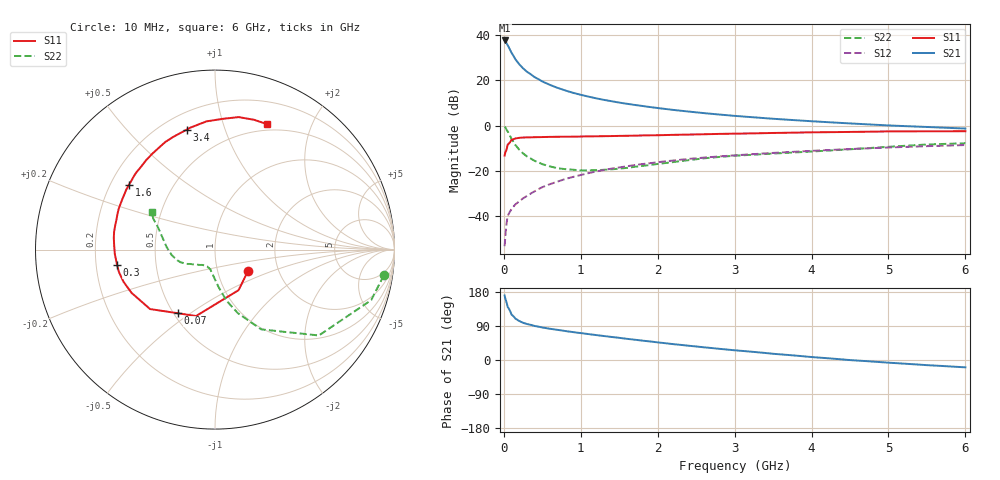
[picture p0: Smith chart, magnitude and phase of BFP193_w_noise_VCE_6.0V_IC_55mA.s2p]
! Infineon Technologies  Discrete & RF Semiconductors
! BFP193
! VCE =  6.0 V,  IC =  55 mA
! Common Emitter S-Parameters:  Jan 2017
# GHz  S  MA  R  50
!  f  S11  S21  S12  S22
! GHz  MAG  ANG  MAG  ANG  MAG  ANG  MAG  ANG
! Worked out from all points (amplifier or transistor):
!   77 points, 10 MHz to 6 GHz, reference 50 ohm
!   highest |S21| = 37.6 dB at 10 MHz (marker M1)
!   |S21| within 3 dB of that: start of sweep to 64.04 MHz
!   unconditionally stable (mu >= 1): 582.8 MHz to 2.367 GHz
!   at 130 MHz: K = 0.62, MSG = 33.0 dB, |S12| = -35.5 dB
!   at 2.2 GHz: K = 1.01, MAG = 10.6 dB, |S12| = -15.4 dB
!   at 6 GHz: K = 0.92, MSG = 3.6 dB, |S12| = -8.5 dB
!   lowest NFmin = 1.60 dB at 450 MHz
!   S11 on the Smith chart (normalised r, x): 10 MHz: 1.40, -0.35; 70 MHz: 0.52, -0.45; 300 MHz: 0.29, -0.07; 1.6 GHz: 0.28, +0.31; 3.4 GHz: 0.30, +0.75; 6 GHz: 0.43, +1.41
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0.01  0.2194 -32.8  76.16 170.3  0.0022 80.8  0.9515 -8.7
0.02  0.2614 -59.9  74.5 161.6  0.0037 80.1  0.9147 -17.9
0.05  0.3847 -105.9  59.92 140.0  0.0102 64.9  0.7508 -39.6
0.07  0.411 -120.4  51.49 133.8  0.0119 63.3  0.6472 -45.9
0.1  0.4905 -137.5  40.58 119.8  0.0145 61.6  0.5138 -59.9
0.15  0.5238 -152.6  29.33 109.3  0.0184 59.1  0.3763 -70.2
0.2  0.5405 -160.7  22.75 102.9  0.0215 61.4  0.2967 -76.8
0.25  0.5497 -166.9  18.49 98.2  0.025 62.8  0.2457 -80.8
0.3  0.5523 -171.2  15.53 95.0  0.0282 65.5  0.2103 -84.5
0.4  0.5587 -177.5  11.82 89.8  0.0357 67.5  0.1679 -89.8
0.5  0.5623 177.6  9.492 85.8  0.0441 68.2  0.1421 -94.5
0.6  0.5677 173.3  7.958 82.4  0.0514 68.5  0.1264 -99.2
0.7  0.5709 169.9  6.831 79.5  0.0587 69.5  0.1151 -102.3
0.8  0.5721 166.4  5.994 76.4  0.0669 68.9  0.1101 -106.1
1.1  0.5826 157.1  4.388 68.4  0.0899 66.6  0.1039 -116.9
1.6  0.6002 143.0  3.051 55.9  0.1276 61.3  0.1175 -133.2
2.1  0.6226 130.0  2.346 44.3  0.1638 55.1  0.1504 -147.1
3.1  0.6725 108.8  1.603 24.0  0.2279 42.3  0.2226 -166.0
3.4  0.6867 103.3  1.467 18.5  0.2455 38.8  0.2379 -171.3
4.1  0.7179 92.3  1.229 6.3  0.2842 30.5  0.2758 174.6
5.1  0.7501 78.6  0.999 -8.3  0.3354 19.0  0.3509 157.3
6  0.7568 67.5  0.867 -19.4  0.375 8.9  0.4112 149.1
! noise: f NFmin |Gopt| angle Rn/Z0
0.45  1.6  0.45  -170  0.09
0.9  1.65  0.47  -163  0.09
1.9  2.29  0.62  -131  0.25
2.4  2.64  0.64  -118  0.51
